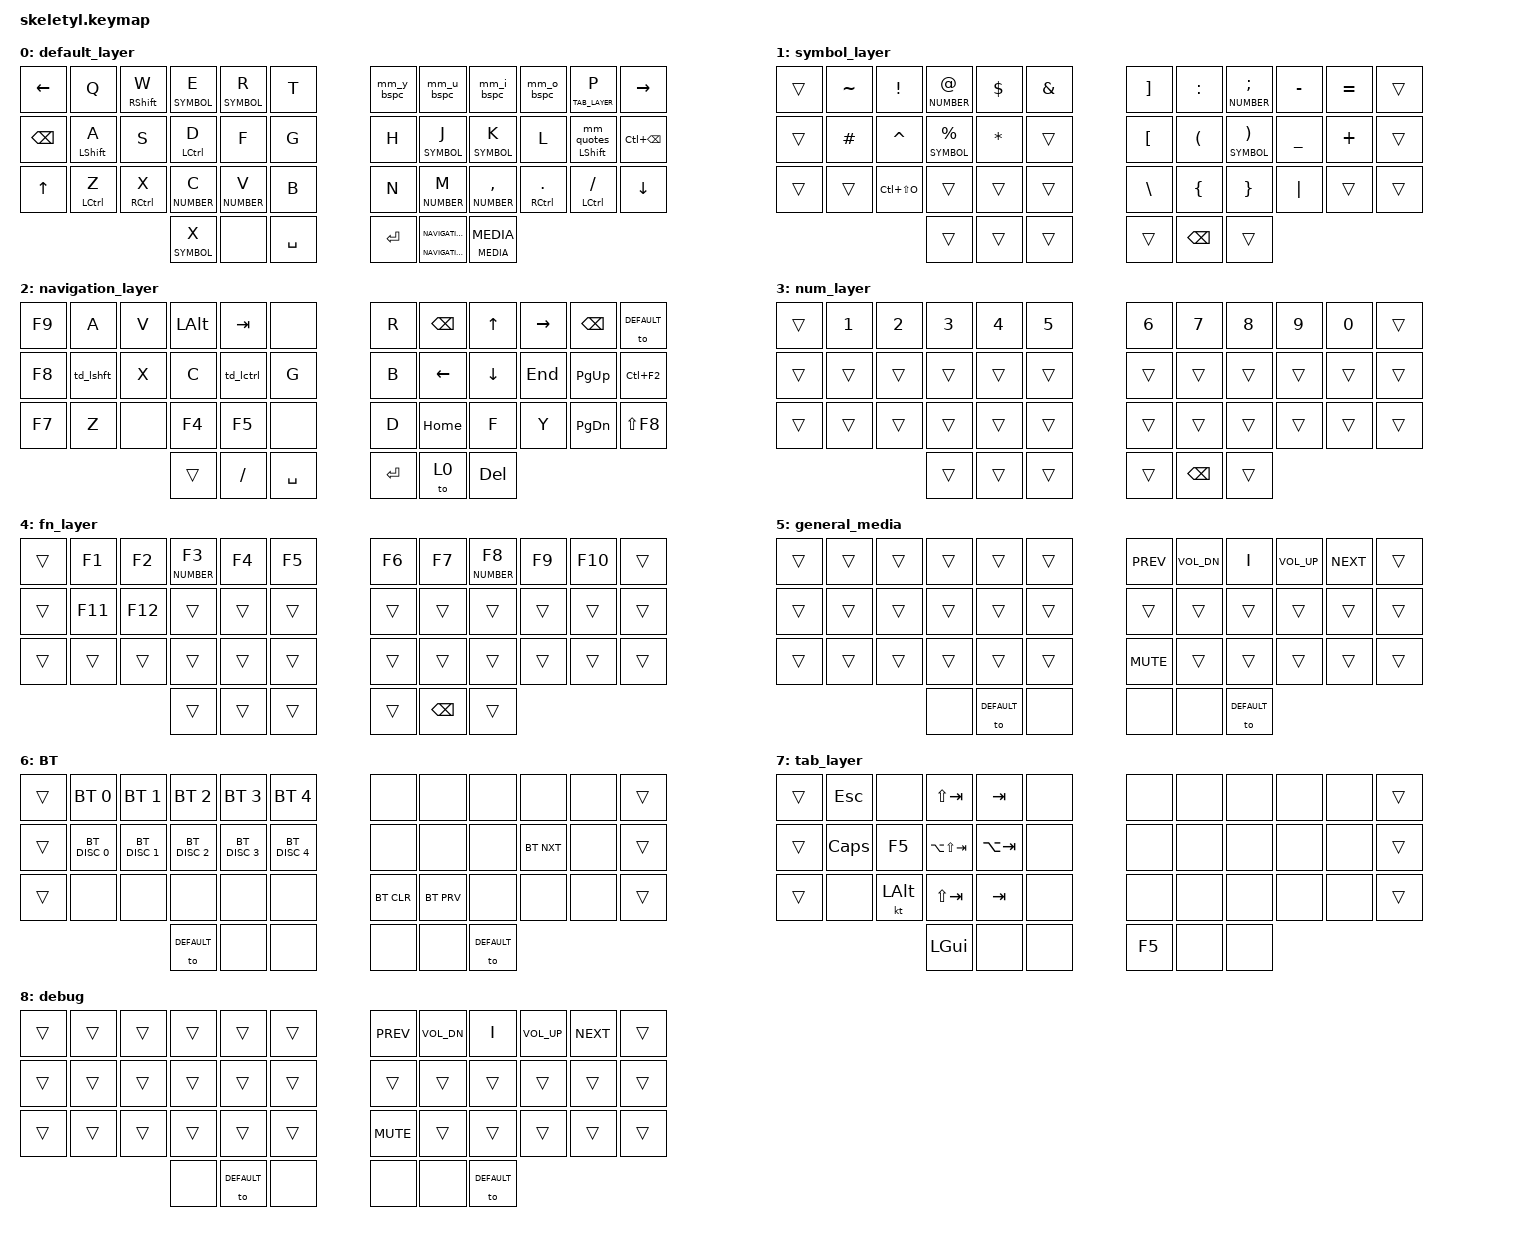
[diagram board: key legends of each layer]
#include <behaviors.dtsi>
#include <dt-bindings/zmk/keys.h>
#include <dt-bindings/zmk/bt.h>
#include <dt-bindings/zmk/outputs.h>
#include <dt-bindings/zmk/input_transform.h>
#include "skeletyl.combos"

// Configure the built-in sticky layer behavior
&sl {
    release-after-ms = <5000>;
    quick-release;
};

// Layer definitions
#define DEFAULT 0
#define SYMBOL 1
#define NAVIGATION 2
#define NUMBER 3
#define FUNCTION 4
#define MEDIA 5
#define BT 6
#define TAB_LAYER 7

/ {
    behaviors {

        td_lctrl: tap_dance_lctrl {
            compatible = "zmk,behavior-tap-dance";
            #binding-cells = <0>;
            tapping-term-ms = <200>;
            bindings = <&kp LCTRL>, <&kt LCTRL>;
        };

        td_lshft: tap_dance_lshft {
            compatible = "zmk,behavior-tap-dance";
            #binding-cells = <0>;
            tapping-term-ms = <200>;
            bindings = <&kp LSHFT>, <&kt LSHFT>;
        };

        // Mod-morph to select between single and double quotes macros
        mm_quotes: mm_quotes {
            compatible = "zmk,behavior-mod-morph";
            #binding-cells = <0>;
            bindings = <&kp APOS>, <&macro_dquotes>;
            mods = <(MOD_LSFT|MOD_RSFT)>;
        };

        // Hold-tap: Hold Shift, Tap Quotes Mod-Morph
        // Note: We use a custom hold-tap that takes 1 argument (for the hold key)
        // The tap behavior (mm_quotes) takes 0 arguments, so the argument passed to &qt is effectively dropped for the tap
        qt: quotes_tap {
            compatible = "zmk,behavior-hold-tap";
            #binding-cells = <2>;
            flavor = "tap-preferred";
            tapping-term-ms = <200>;
            bindings = <&kp>, <&mm_quotes>;
        };

        // Mod-morph: O normally, BSPC when Left Shift is held, O uppercase when Right Shift is held
        mm_o_bspc: mod_morph_o_bspc {
            compatible = "zmk,behavior-mod-morph";
            #binding-cells = <0>;
            bindings = <&kp O &kp BSPC>;
            mods = <(MOD_LSFT)>;
        };
        
        // Mod-morph: I normally, BSPC when Left Shift is held, I uppercase when Right Shift is held
        mm_i_bspc: mod_morph_i_bspc {
            compatible = "zmk,behavior-mod-morph";
            #binding-cells = <0>;
            bindings = <&kp I &kp BSPC>;
            mods = <(MOD_LSFT)>;
        };
        
        // Mod-morph: U normally, BSPC when Left Shift is held, U uppercase when Right Shift is held
        mm_u_bspc: mod_morph_u_bspc {
            compatible = "zmk,behavior-mod-morph";
            #binding-cells = <0>;
            bindings = <&kp U &kp BSPC>;
            mods = <(MOD_LSFT)>;
        };
        
        // Mod-morph: Y normally, BSPC when Left Shift is held, Y uppercase when Right Shift is held
        mm_y_bspc: mod_morph_y_bspc {
            compatible = "zmk,behavior-mod-morph";
            #binding-cells = <0>;
            bindings = <&kp Y &kp BSPC>;
            mods = <(MOD_LSFT)>;
        };
        // Configure the built-in mod-tap behavior to use tap-preferred
        mt: mod_tap {
            compatible = "zmk,behavior-hold-tap";
            #binding-cells = <2>;
            flavor = "tap-preferred";
            tapping-term-ms = <200>;
            bindings = <&kp>, <&kp>;
        };
        
        // Hold-preferred mod-tap for specific keys
        mth: mod_tap_hold {
            compatible = "zmk,behavior-hold-tap";
            #binding-cells = <2>;
            flavor = "hold-preferred";
            tapping-term-ms = <200>;
            bindings = <&kp>, <&kp>;
        };
        
        // Balanced mod-tap for testing
        mtb: mod_tap_balanced {
            compatible = "zmk,behavior-hold-tap";
            #binding-cells = <2>;
            flavor = "balanced";
            tapping-term-ms = <200>;
            bindings = <&kp>, <&kp>;
        };
        
        
        /**
        * Temporarily switches to a layer (`&mo`) while a modifier is held.
        * Analogous to QMK's `LM()`, using a parameterized macro.
        *
        * Params:
        *  1. Layer to switch to
        *  2. Modifier to press while layer is active
        *
        * Example:
        *  `&lm NUM_LAYER LSHIFT`
        */
        lm: lm {
            compatible = "zmk,behavior-macro-two-param";
            wait-ms = <0>;
            tap-ms = <0>;
            #binding-cells = <2>;
            bindings
                = <&macro_param_1to1>
                , <&macro_press &mo TAB>
                , <&macro_param_2to1>
                , <&macro_press &kp LALT>
                , <&macro_pause_for_release>
                , <&macro_param_2to1>
                , <&macro_release &kp LALT>
                , <&macro_param_1to1>
                , <&macro_release &mo TAB>
                ;
        };
        
        // Toggle on tap, momentary on hold behavior
        tog_mo: toggle_momentary {
            compatible = "zmk,behavior-hold-tap";
            #binding-cells = <2>;
            flavor = "hold-preferred";
            tapping-term-ms = <200>;
            bindings = <&mo>, <&tog>;
        };
        
    };

    macros {
        macro_quotes: macro_quotes {
            compatible = "zmk,behavior-macro";
            #binding-cells = <0>;
            bindings = <&kp APOS &kp APOS &kp LEFT>;
        };
        macro_dquotes: macro_dquotes {
            compatible = "zmk,behavior-macro";
            #binding-cells = <0>;
            bindings
                = <&macro_press &kp LSHFT>
                , <&macro_tap &kp APOS &kp SPACE>
                , <&macro_tap &kp APOS &kp SPACE>
                , <&macro_release &kp LSHFT>
                , <&macro_release &kp RSHFT>
                , <&macro_tap &kp LEFT>
                ;
        };

        zed_em_kay: zed_em_kay {
            compatible = "zmk,behavior-macro";
            #binding-cells = <0>;
            bindings
                = <&macro_press &kp LSHFT>
                , <&macro_tap &kp Z &kp M &kp K>
                , <&macro_release &kp LSHFT>
                ;
        };

                open_terminal: open_terminal {
            compatible = "zmk,behavior-macro";
            #binding-cells = <0>;
            bindings = <&kp LC(LA(T))>;
        };

            double_lshift: double_lshift {
                compatible = "zmk,behavior-macro";
                #binding-cells = <0>;
                bindings = <
                    &macro_tap &kp LSHFT &kp LSHFT
                >;
            };

            lock_session: lock_session {
                compatible = "zmk,behavior-macro";
                #binding-cells = <0>;
                bindings = <&kp LC(LA(L))>;  // Ctrl+Alt+L to lock session on Linux Mint
            };
            
            alt_f4: alt_f4 {
                compatible = "zmk,behavior-macro";
                #binding-cells = <0>;
                bindings = <&kp LA(F4)>;  // Alt+F4 to close windows
            };

    };

    keymap {
        compatible = "zmk,keymap";

        default_layer {
            bindings = <
                &kp LEFT        &kp Q           &mt RSHIFT W    &lt SYMBOL E   &lt SYMBOL R     &kp T         &mm_y_bspc     &mm_u_bspc     &mm_i_bspc     &mm_o_bspc     &lt TAB_LAYER P   &kp RIGHT
                &kp BSPC        &mtb LSHIFT A   &kp S           &mt LCTRL D    &kp F          &kp G         &kp H          &lt SYMBOL J     &lt SYMBOL K     &kp L          &qt LSHIFT 0    &kp LC(BSPC)
                &kp UP          &mt LCTRL Z     &mt RCTRL X     &lt NUMBER C     &lt NUMBER V     &kp B         &kp N          &lt NUMBER M     &lt NUMBER COMMA &mt RCTRL DOT   &mt LCTRL SLASH &kp DOWN
                                 &lt SYMBOL X      &none           &kp SPACE      &kp ENTER      &tog_mo NAVIGATION NAVIGATION   &tog_mo MEDIA MEDIA
            >;
        };

        symbol_layer {
            bindings = <
                &trans           &kp TILDE       &kp EXCL        &lt NUMBER AT   &kp DLLR       &kp AMPS      &kp RBKT      &kp COLON      &lt NUMBER SEMI &kp MINUS      &kp EQUAL      &trans
                &trans           &kp HASH        &kp CARET       &lt SYMBOL PRCNT &kp ASTRK     &trans        &kp LBKT      &kp LPAR       &lt SYMBOL RPAR &kp UNDER      &kp PLUS       &trans
                &trans           &trans          &kp LC(LS(O))          &trans         &trans        &trans        &kp BSLH      &kp LBRC       &kp RBRC      &kp PIPE       &trans         &trans
                            &trans           &trans          &trans          &trans         &kp BSPC      &trans
            >;
        };

        navigation_layer {
            bindings = <
                &kp F9          &kp A           &kp V           &kp LALT      &kp TAB        &none         &kp R         &kp BSPC      &kp UP        &kp RIGHT      &kp BSPC       &to DEFAULT
                &kp F8           &td_lshft       &kp X           &kp C         &td_lctrl      &kp G         &kp B         &kp LEFT      &kp DOWN      &kp END        &kp PG_UP      &kp LC(F2)
                &kp F7           &kp Z           &none           &kp F4        &kp F5         &none         &kp D         &kp HOME      &kp F         &kp Y          &kp PG_DN      &kp LS(F8)
                        &trans           &kp SLASH       &kp SPACE       &kp ENTER     &to 0          &kp DEL
            >;
        };

        num_layer {
            bindings = <
                &trans           &kp N1          &kp N2          &kp N3         &kp N4         &kp N5         &kp N6         &kp N7         &kp N8         &kp N9         &kp N0         &trans
                &trans           &trans          &trans          &trans         &trans         &trans         &trans         &trans         &trans         &trans         &trans         &trans
                &trans           &trans          &trans          &trans         &trans         &trans         &trans         &trans         &trans         &trans         &trans         &trans
                            &trans           &trans          &trans          &trans         &kp BSPC       &trans
            >;
        };

        fn_layer {
            bindings = <
                &trans           &kp F1          &kp F2          &lt NUMBER F3    &kp F4         &kp F5         &kp F6         &kp F7         &lt NUMBER F8    &kp F9         &kp F10        &trans
                &trans           &kp F11         &kp F12         &trans         &trans         &trans         &trans         &trans         &trans         &trans         &trans         &trans
                &trans           &trans          &trans          &trans         &trans         &trans         &trans         &trans         &trans         &trans         &trans         &trans
                            &trans           &trans          &trans          &trans         &kp BSPC       &trans
            >;
        };

        general_media {
            bindings = <
                &trans           &trans          &trans          &trans         &trans         &trans         &kp C_PREV      &kp C_VOL_DN    &kp I          &kp C_VOL_UP    &kp C_NEXT      &trans
                &trans           &trans          &trans          &trans         &trans         &trans         &trans          &trans          &trans          &trans          &trans         &trans
                &trans           &trans          &trans          &trans         &trans         &trans         &kp C_MUTE      &trans          &trans          &trans          &trans         &trans
                            &none            &to DEFAULT     &none           &none          &none          &to DEFAULT
            >;
        };

        BT {
            bindings = <
                &trans           &bt BT_SEL 0    &bt BT_SEL 1    &bt BT_SEL 2   &bt BT_SEL 3   &bt BT_SEL 4   &none         &none         &none         &none         &none         &trans
                &trans           &bt BT_DISC 0   &bt BT_DISC 1   &bt BT_DISC 2  &bt BT_DISC 3  &bt BT_DISC 4  &none         &none         &none         &bt BT_NXT    &none         &trans
                &trans           &none           &none           &none          &none          &none          &bt BT_CLR    &bt BT_PRV    &none         &none         &none         &trans
                            &to DEFAULT      &none           &none           &none          &none          &to DEFAULT
            >;
        };

        tab_layer {
            bindings = <
                &trans           &kp ESC         &none           &kp LS(TAB)    &kp TAB        &none         &none         &none         &none         &none         &none         &trans
                &trans           &kp CAPS        &kp F5          &kp LA(LS(TAB)) &kp LA(TAB)   &none         &none         &none         &none         &none         &none         &trans
                &trans           &none           &kt LALT        &kp LS(TAB)    &kp TAB        &none         &none         &none         &none         &none         &none         &trans
                            &kp LGUI         &none           &none           &kp F5         &none         &none
            >;
        };

        debug {
            bindings = <
                &trans           &trans          &trans          &trans         &trans         &trans         &kp C_PREV      &kp C_VOL_DN    &kp I          &kp C_VOL_UP    &kp C_NEXT      &trans
                &trans           &trans          &trans          &trans         &trans         &trans         &trans          &trans          &trans          &trans          &trans         &trans
                &trans           &trans          &trans          &trans         &trans         &trans         &kp C_MUTE      &trans          &trans          &trans          &trans         &trans
                            &none            &to DEFAULT     &none           &none          &none          &to DEFAULT
            >;
        };
    };
};
